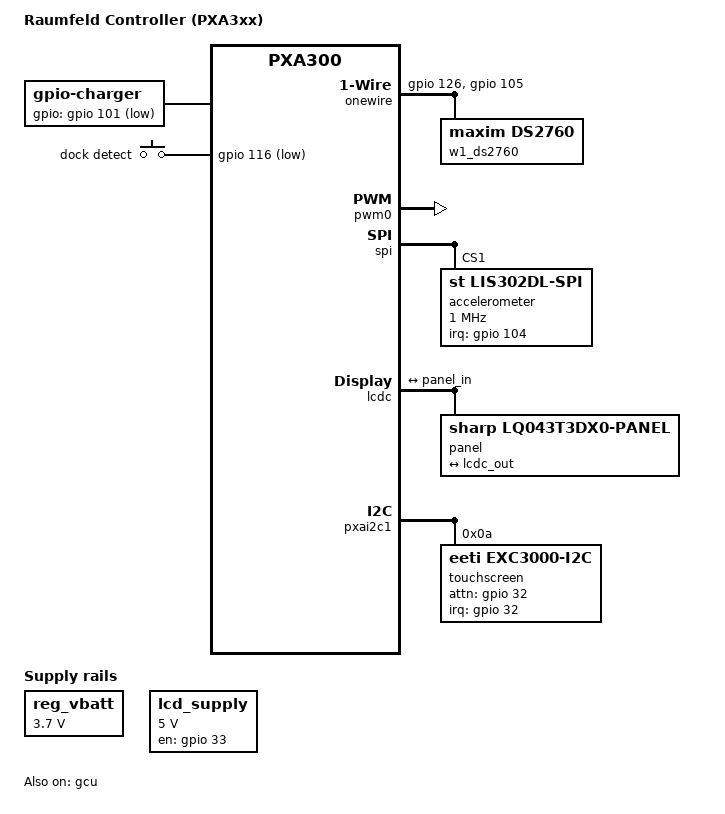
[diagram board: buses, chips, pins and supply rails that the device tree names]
// SPDX-License-Identifier: GPL-2.0

/dts-v1/;

#include "pxa300-raumfeld-common.dtsi"

/ {
	model = "Raumfeld Controller (PXA3xx)";
	compatible = "raumfeld,raumfeld-controller-pxa303", "marvell,pxa300";

	reg_vbatt: regulator-vbatt {
		compatible = "regulator-fixed";
		regulator-name = "vbatt-fixed-supply";
		regulator-min-microvolt = <3700000>;
		regulator-max-microvolt = <3700000>;
		regulator-always-on;
	};

	lcd_supply: regulator-va-tft {
		compatible = "regulator-fixed";
		regulator-name = "va-tft-fixed-supply";
		regulator-min-microvolt = <5000000>;
		regulator-max-microvolt = <5000000>;
		gpio = <&gpio 33 GPIO_ACTIVE_HIGH>;
		enable-active-high;
	};

	onewire {
		compatible = "w1-gpio";
		pinctrl-names = "default";
		pinctrl-0 = <&w1_pins>;
		gpios = <
			&gpio 126 GPIO_OPEN_DRAIN	/* W1 I/O	*/
			&gpio 105 GPIO_ACTIVE_HIGH	/* pullup	*/
		>;

		w1_ds2760: slave-ds2760 {
			compatible = "maxim,ds2760";
			power-supplies = <&charger>;
		};
	};

	charger: charger {
		compatible = "gpio-charger";
		charger-type = "mains";
		gpios = <&gpio 101 GPIO_ACTIVE_LOW>;
	};

	/*
	 * One of the following two will be set to "okay" by the bootloader,
	 * depending on the hardware revision.
	 */
	backlight-controller-pwm {
		compatible = "pwm-backlight";
		pinctrl-names = "default";
		pinctrl-0 = <&pwm0_pins>;
		pwms = <&pwm0 10000>;
		power-supply = <&reg_vbatt>;
		status = "disabled";

		brightness-levels = <
			 0  1  2  3  4  5  6  7  8  9
			10 11 12 13 14 15 16 17 18 19
			20 21 22 23 24 25 26 27 28 29
			30 31 32 33 34 35 36 37 38 39
			40 41 42 43 44 45 46 47 48 49
			50 51 52 53 54 55 56 57 58 59
			60 61 62 63 64 65 66 67 68 69
			70 71 72 73 74 75 76 77 78 79
			80 81 82 83 84 85 86 87 88 89
			90 91 92 93 94 95 96 97 98 99
			100
		>;
		default-brightness-level = <100>;
	};

	backlight-controller {
		compatible = "lltc,lt3593";
		pinctrl-names = "default";
		pinctrl-0 = <&lt3593_pins>;
		lltc,ctrl-gpios = <&gpio 17 GPIO_ACTIVE_HIGH>;
		status = "disabled";

		led {
			label = "backlight";
			default-state = "on";
		};
	};
};

&reg_va_5v0 {
	status = "disabled";
};

&ethernet {
	status = "disabled";
};

&leds {
	status = "disabled";
};

&dac {
	status = "disabled";
};

&pwm0 {
	status = "okay";
};

&keys {
	pinctrl-0 = <&gpio_keys_pins &dock_detect_pins>;
	dock-detect {
		label = "dock detect";
		gpios = <&gpio 116 GPIO_ACTIVE_LOW>;
		linux,code = <KEY_F5>;
	};
};

&spi {
	accelerometer@1 {
		compatible = "st,lis302dl-spi";
		pinctrl-names = "default";
		pinctrl-0 = <&lis302_pins>;
		reg = <1>;
		spi-max-frequency = <1000000>;
		interrupt-parent = <&gpio>;
		interrupts = <104 IRQ_TYPE_EDGE_FALLING>;

		st,click-single-x;
		st,click-single-y;
		st,click-single-z;
		st,click-thresh-x = <10>;
		st,click-thresh-y = <10>;
		st,click-thresh-z = <10>;
		st,irq1-click;
		st,irq2-click;
		st,wakeup-x-lo;
		st,wakeup-x-hi;
		st,wakeup-y-lo;
		st,wakeup-y-hi;
		st,wakeup-z-lo;
		st,wakeup-z-hi;
	};
};

&lcdc {
	status = "okay";
	pinctrl-names = "default";
	pinctrl-0 = <&lcdc_pins>;
	lcd-supply = <&lcd_supply>;

	port {
		lcdc_out: endpoint {
			remote-endpoint = <&panel_in>;
			bus-width = <16>;
		};
	};

	panel {
		compatible = "sharp,lq043t3dx0-panel";
		display-timings {
			native-mode = <&timing0>;
			timing0: timing {
				clock-frequency = <9009000>;
				pixelclk-active = <0>;	/* negative edge */
				hactive = <480>;
				vactive = <272>;
				hsync-len = <41>;
				hback-porch = <2>;
				hfront-porch = <1>;
				vsync-len = <10>;
				vback-porch = <3>;
				vfront-porch = <1>;
			};
		};

		port {
			panel_in: endpoint {
				remote-endpoint = <&lcdc_out>;
			};
		};
	};
};

&gcu {
	status = "okay";
};

&pxai2c1 {
	touchscreen@a {
		compatible = "eeti,exc3000-i2c";
		pinctrl-names = "default";
		pinctrl-0 = <&eeti_ts_pins>;
		reg = <0xa>;
		interrupt-parent = <&gpio>;
		interrupts = <32 IRQ_TYPE_EDGE_RISING>;
		attn-gpios = <&gpio 32 GPIO_ACTIVE_HIGH>;
		touchscreen-inverted-y;
	};
};

&pinctrl {
	lis302_pins: lis302-pins {
		pinctrl-single,pins = <
			MFP_PIN_PXA300(104) MFP_AF0	/* IRQ	*/
		>;
		pinctrl-single,low-power-mode = MFP_LPM(MFP_LPM_PULL_LOW);
	};

	eeti_ts_pins: eeti-ts-pins {
		pinctrl-single,pins = <
			MFP_PIN_PXA300(32) MFP_AF0	/* IRQ */
		>;
		pinctrl-single,low-power-mode = MFP_LPM(MFP_LPM_FLOAT);
	};

	lt3593_pins: lt3593-pins {
		pinctrl-single,pins = <
			MFP_PIN_PXA300(17) MFP_AF0	/* Backlight	*/
		>;
		pinctrl-single,low-power-mode = MFP_LPM(MFP_LPM_PULL_LOW);
	};

	pwm0_pins: pwm0-pins {
		pinctrl-single,pins = <
			MFP_PIN_PXA300(17) MFP_AF1	/* PWM	*/
		>;
		pinctrl-single,low-power-mode = MFP_LPM(MFP_LPM_PULL_LOW);
	};

	w1_pins: w1-pins {
		pinctrl-single,pins = <
			MFP_PIN_PXA300(126) MFP_AF0	/* PWM	*/
			MFP_PIN_PXA300(105) MFP_AF0	/* PWM	*/
		>;
		pinctrl-single,low-power-mode = MFP_LPM(MFP_LPM_FLOAT);
	};

	dock_detect_pins: dock_detect_pins {
		pinctrl-single,pins = <
			MFP_PIN_PXA300(116) MFP_AF0	/* DOCK_DETECT	*/
		>;
		pinctrl-single,low-power-mode = MFP_LPM(MFP_LPM_PULL_HIGH);
		pinctrl-single,bias-pullup = MPF_PULL_UP;
	};

	lcdc_pins: lcdc-pins {
		pinctrl-single,pins = <
			MFP_PIN_PXA300(54) MFP_AF1	/* LDD_0	*/
			MFP_PIN_PXA300(55) MFP_AF1	/* LDD_1	*/
			MFP_PIN_PXA300(56) MFP_AF1	/* LDD_2	*/
			MFP_PIN_PXA300(57) MFP_AF1	/* LDD_3	*/
			MFP_PIN_PXA300(58) MFP_AF1	/* LDD_4	*/
			MFP_PIN_PXA300(59) MFP_AF1	/* LDD_5	*/
			MFP_PIN_PXA300(60) MFP_AF1	/* LDD_6	*/
			MFP_PIN_PXA300(61) MFP_AF1	/* LDD_7	*/
			MFP_PIN_PXA300(62) MFP_AF1	/* LDD_8	*/
			MFP_PIN_PXA300(63) MFP_AF1	/* LDD_9	*/
			MFP_PIN_PXA300(64) MFP_AF1	/* LDD_10	*/
			MFP_PIN_PXA300(65) MFP_AF1	/* LDD_11	*/
			MFP_PIN_PXA300(66) MFP_AF1	/* LDD_12	*/
			MFP_PIN_PXA300(67) MFP_AF1	/* LDD_13	*/
			MFP_PIN_PXA300(68) MFP_AF1	/* LDD_14	*/
			MFP_PIN_PXA300(69) MFP_AF1	/* LDD_15	*/
			MFP_PIN_PXA300(70) MFP_AF1	/* LDD_16	*/
			MFP_PIN_PXA300(71) MFP_AF1	/* LDD_17	*/
			MFP_PIN_PXA300(72) MFP_AF1	/* LCD_FCLK	*/
			MFP_PIN_PXA300(73) MFP_AF1	/* LCD_LCLK	*/
			MFP_PIN_PXA300(74) MFP_AF1	/* LCD_PCLK	*/
			MFP_PIN_PXA300(75) MFP_AF1	/* LCD_BIAS	*/
		>;
		pinctrl-single,low-power-mode = MFP_LPM(MFP_LPM_PULL_LOW);
	};
};
